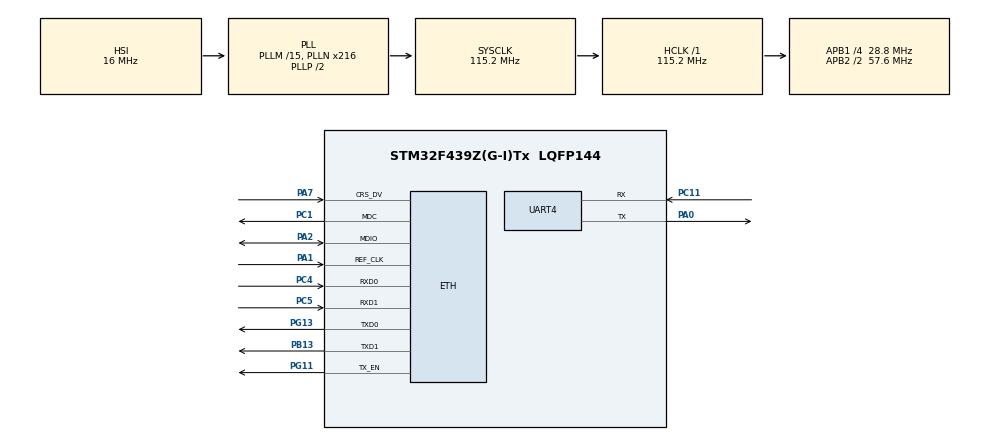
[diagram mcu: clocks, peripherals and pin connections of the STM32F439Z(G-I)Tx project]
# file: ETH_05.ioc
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ETH.MediaInterface=HAL_ETH_RMII_MODE
LWIP.BSP.number=1
LWIP.GATEWAY_ADDRESS=000.000.000.000
LWIP.IP_ADDRESS=169.254.009.077
LWIP.LWIP_DHCP=0
LWIP.LWIP_HTTPD=1
LWIP.LWIP_HTTPD_CUSTOM_FILES=0
LWIP.MEM_SIZE=16000
LWIP.NETMASK_ADDRESS=255.255.000.000
LWIP.Version=v2.1.2_Cube
LWIP0.BSP.STBoard=false
LWIP0.BSP.api=BSP_COMPONENT_DRIVER
LWIP0.BSP.component=LAN8742
LWIP0.BSP.instance=LAN8742
LWIP0.BSP.name=Driver_PHY
LWIP0.BSP.semaphore=S_LAN8742
LWIP0.BSP.solution=LAN8742
Mcu.Family=STM32F4
Mcu.Name=STM32F439Z(G-I)Tx
Mcu.Package=LQFP144
NVIC.ETH_IRQn=true\:0\:0\:false\:false\:true\:true\:true\:true
NVIC.PriorityGroup=NVIC_PRIORITYGROUP_4
PA0/WKUP.Mode=Asynchronous
PA0/WKUP.Signal=UART4_TX
PA1.Mode=RMII
PA1.Signal=ETH_REF_CLK
PA2.Mode=RMII
PA2.Signal=ETH_MDIO
PA7.Mode=RMII
PA7.Signal=ETH_CRS_DV
PB13.Mode=RMII
PB13.Signal=ETH_TXD1
PC1.Mode=RMII
PC1.Signal=ETH_MDC
PC11.Mode=Asynchronous
PC11.Signal=UART4_RX
PC4.Mode=RMII
PC4.Signal=ETH_RXD0
PC5.Mode=RMII
PC5.Signal=ETH_RXD1
PG11.Mode=RMII
PG11.Signal=ETH_TX_EN
PG13.Mode=RMII
PG13.Signal=ETH_TXD0
PH0/OSC_IN.Mode=HSE-External-Oscillator
PH0/OSC_IN.Signal=RCC_OSC_IN
PH1/OSC_OUT.Mode=HSE-External-Oscillator
PH1/OSC_OUT.Signal=RCC_OSC_OUT
ProjectManager.HeapSize=0x200
ProjectManager.StackSize=0x400
ProjectManager.TargetToolchain=STM32CubeIDE
RCC.48MHZClocksFreq_Value=57600000.00000001
RCC.AHBFreq_Value=115200000.00000001
RCC.APB1CLKDivider=RCC_HCLK_DIV4
RCC.APB1Freq_Value=28800000.000000004
RCC.APB1TimFreq_Value=57600000.00000001
RCC.APB2CLKDivider=RCC_HCLK_DIV2
RCC.APB2Freq_Value=57600000.00000001
RCC.APB2TimFreq_Value=115200000.00000001
RCC.CortexFreq_Value=115200000.00000001
RCC.HCLKFreq_Value=115200000.00000001
RCC.HSE_VALUE=25000000
RCC.HSI_VALUE=16000000
RCC.LSE_VALUE=32768
RCC.PLLM=15
RCC.PLLN=216
RCC.SYSCLKFreq_VALUE=115200000.00000001
RCC.SYSCLKSource=RCC_SYSCLKSOURCE_PLLCLK
RCC.VCOOutputFreq_Value=230400000.00000003
TIM3.Period=41
TIM3.Prescaler=2
UART4.VirtualMode=Asynchronous
VP_LWIP_VS_Enabled.Mode=Enabled
VP_TIM3_VS_ClockSourceINT.Mode=Internal
board=custom

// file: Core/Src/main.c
/* USER CODE BEGIN Header */
/**
  ******************************************************************************
  * @file           : main.c
  * @brief          : Main program body
  ******************************************************************************
  * @attention
  *
  * Copyright (c) 2024 STMicroelectronics.
  * All rights reserved.
  *
  * This software is licensed under terms that can be found in the LICENSE file
  * in the root directory of this software component.
  * If no LICENSE file comes with this software, it is provided AS-IS.
  *
  ******************************************************************************
  */
/* USER CODE END Header */
#include "main.h"
#include "lwip.h"

/* USER CODE BEGIN Includes */
#include "httpd.h"
#include "lwip/apps/mqtt.h"
#include "lwip_mqtt.h"
/* USER CODE END Includes */

TIM_HandleTypeDef htim3;

UART_HandleTypeDef huart4;

/* USER CODE BEGIN PV */

mqtt_client_t *client;
uint32_t cont=0,blink=0;
char buf[1000];
char pacote[1000];
uint32_t c1;

/* USER CODE END PV */

void SystemClock_Config(void);
static void MX_GPIO_Init(void);
static void MX_TIM3_Init(void);
static void MX_UART4_Init(void);

int main(void)
{

  /* MCU Configuration--------------------------------------------------------*/

  /* Reset of all peripherals, Initializes the Flash interface and the Systick. */
  HAL_Init();

  /* Configure the system clock */
  SystemClock_Config();

  /* Initialize all configured peripherals */
  MX_GPIO_Init();
  MX_LWIP_Init();
  MX_TIM3_Init();
  MX_UART4_Init();
  /* USER CODE BEGIN 2 */

  //httpd_init();

  c1 = LWIP_IANA_PORT_HTTP;

  client = mqtt_client_new();

  if(client != NULL) {
sprintf(pacote,"hello_mohamed");
    example_do_connect(client, "hello_world");
    example_publish(client, pacote);
  }
  if(HAL_TIM_Base_Init(&htim3) != HAL_OK)
  {
    /* Initialization Error */
    Error_Handler();
  }

  //##-2- Start the TIM Base generation in interrupt mode ####################*/
  /* Start Channel1 */

  /* USER CODE END 2 */

  /* Infinite loop */
  while (1)
  {

    /* USER CODE BEGIN 3 */
	  MX_LWIP_Process();
	    example_do_connect(client, "hello_world");
	    example_publish(client, pacote);
	    HAL_Delay(2000);

  }
  /* USER CODE END 3 */
}

void SystemClock_Config(void)
{
  RCC_OscInitTypeDef RCC_OscInitStruct = {0};
  RCC_ClkInitTypeDef RCC_ClkInitStruct = {0};

  /** Configure the main internal regulator output voltage
  */
  __HAL_RCC_PWR_CLK_ENABLE();
  __HAL_PWR_VOLTAGESCALING_CONFIG(PWR_REGULATOR_VOLTAGE_SCALE3);

  /** Initializes the RCC Oscillators according to the specified parameters
  * in the RCC_OscInitTypeDef structure.
  */
  RCC_OscInitStruct.OscillatorType = RCC_OSCILLATORTYPE_HSI;
  RCC_OscInitStruct.HSIState = RCC_HSI_ON;
  RCC_OscInitStruct.HSICalibrationValue = RCC_HSICALIBRATION_DEFAULT;
  RCC_OscInitStruct.PLL.PLLState = RCC_PLL_ON;
  RCC_OscInitStruct.PLL.PLLSource = RCC_PLLSOURCE_HSI;
  RCC_OscInitStruct.PLL.PLLM = 15;
  RCC_OscInitStruct.PLL.PLLN = 216;
  RCC_OscInitStruct.PLL.PLLP = RCC_PLLP_DIV2;
  RCC_OscInitStruct.PLL.PLLQ = 4;
  if (HAL_RCC_OscConfig(&RCC_OscInitStruct) != HAL_OK)
  {
    Error_Handler();
  }

  /** Initializes the CPU, AHB and APB buses clocks
  */
  RCC_ClkInitStruct.ClockType = RCC_CLOCKTYPE_HCLK|RCC_CLOCKTYPE_SYSCLK
                              |RCC_CLOCKTYPE_PCLK1|RCC_CLOCKTYPE_PCLK2;
  RCC_ClkInitStruct.SYSCLKSource = RCC_SYSCLKSOURCE_PLLCLK;
  RCC_ClkInitStruct.AHBCLKDivider = RCC_SYSCLK_DIV1;
  RCC_ClkInitStruct.APB1CLKDivider = RCC_HCLK_DIV4;
  RCC_ClkInitStruct.APB2CLKDivider = RCC_HCLK_DIV2;

  if (HAL_RCC_ClockConfig(&RCC_ClkInitStruct, FLASH_LATENCY_3) != HAL_OK)
  {
    Error_Handler();
  }
}

static void MX_TIM3_Init(void)
{

  TIM_ClockConfigTypeDef sClockSourceConfig = {0};
  TIM_MasterConfigTypeDef sMasterConfig = {0};

  htim3.Instance = TIM3;
  htim3.Init.Prescaler = 2;
  htim3.Init.CounterMode = TIM_COUNTERMODE_UP;
  htim3.Init.Period = 41;
  htim3.Init.ClockDivision = TIM_CLOCKDIVISION_DIV1;
  htim3.Init.AutoReloadPreload = TIM_AUTORELOAD_PRELOAD_DISABLE;
  if (HAL_TIM_Base_Init(&htim3) != HAL_OK)
  {
    Error_Handler();
  }
  sClockSourceConfig.ClockSource = TIM_CLOCKSOURCE_INTERNAL;
  if (HAL_TIM_ConfigClockSource(&htim3, &sClockSourceConfig) != HAL_OK)
  {
    Error_Handler();
  }
  sMasterConfig.MasterOutputTrigger = TIM_TRGO_RESET;
  sMasterConfig.MasterSlaveMode = TIM_MASTERSLAVEMODE_DISABLE;
  if (HAL_TIMEx_MasterConfigSynchronization(&htim3, &sMasterConfig) != HAL_OK)
  {
    Error_Handler();
  }

}

static void MX_UART4_Init(void)
{

  huart4.Instance = UART4;
  huart4.Init.BaudRate = 115200;
  huart4.Init.WordLength = UART_WORDLENGTH_8B;
  huart4.Init.StopBits = UART_STOPBITS_1;
  huart4.Init.Parity = UART_PARITY_NONE;
  huart4.Init.Mode = UART_MODE_TX_RX;
  huart4.Init.HwFlowCtl = UART_HWCONTROL_NONE;
  huart4.Init.OverSampling = UART_OVERSAMPLING_16;
  if (HAL_UART_Init(&huart4) != HAL_OK)
  {
    Error_Handler();
  }

}

static void MX_GPIO_Init(void)
{

  /* GPIO Ports Clock Enable */
  __HAL_RCC_GPIOH_CLK_ENABLE();
  __HAL_RCC_GPIOC_CLK_ENABLE();
  __HAL_RCC_GPIOA_CLK_ENABLE();
  __HAL_RCC_GPIOB_CLK_ENABLE();
  __HAL_RCC_GPIOG_CLK_ENABLE();

}

/* USER CODE BEGIN 4 */
void HAL_TIM_PeriodElapsedCallback(TIM_HandleTypeDef *htim)
{
if (htim->Instance==TIM3){
	cont++;
	if(cont>5000){
		blink++;
		sprintf(pacote,"we %d ",(int)blink);
		cont=0;
		  //HAL_GPIO_TogglePin(GPIOD, LD4_Pin);
		    example_do_connect(client, "hello_world");
		 example_publish(client, pacote);

	}

}
}
/* USER CODE END 4 */

void Error_Handler(void)
{
  __disable_irq();
  while (1)
  {
  }
}
